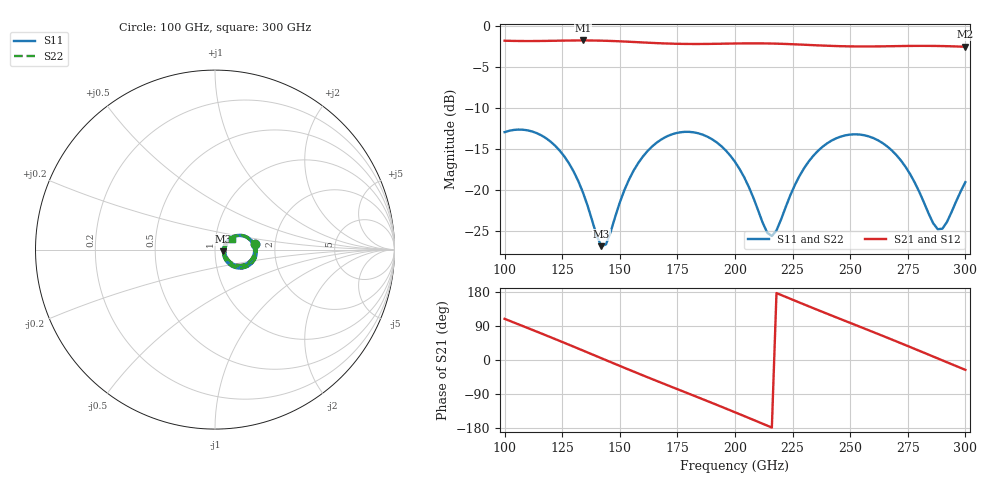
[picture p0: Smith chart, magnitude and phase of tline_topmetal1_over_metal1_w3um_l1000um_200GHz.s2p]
#  GHZ S DB R 50
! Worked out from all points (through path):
!   101 points, 100 GHz to 300 GHz, reference 50 ohm
!   highest |S21| = -1.75 dB at 134 GHz (marker M1); lowest = -2.5 dB at 300 GHz (marker M2)
!   group delay of S21, straight-line fit = 6.87 ps
!   lowest |S11| = -26.9 dB at 142 GHz (marker M3), VSWR 1.09, Z = 54.6 - j1.04 ohm
!   |S11| at or under -10 dB: start of sweep to end of sweep
!   |S22| runs from -26.8 to -12.6 dB; largest |S21 - S12| = 9.2e-14
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100  -12.95 7.4  -1.78 108.6  -1.78 108.6  -12.95 7.5
108  -12.65 -8.1  -1.82 89.3  -1.82 89.3  -12.65 -8.0
116  -13.35 -23.4  -1.81 69.9  -1.81 69.9  -13.36 -23.3
126  -15.95 -40.7  -1.76 45.1  -1.76 45.1  -15.96 -40.4
134  -20.32 -47.2  -1.75 25.0  -1.75 25.0  -20.33 -46.7
142  -26.89 -12.2  -1.77 4.7  -1.77 4.7  -26.80 -11.6
144  -26.67 8.4  -1.79 -0.4  -1.79 -0.4  -26.56 8.7
156  -17.65 36.0  -1.93 -30.6  -1.93 -30.6  -17.63 35.9
168  -13.85 17.8  -2.09 -60.0  -2.09 -60.0  -13.84 17.8
184  -13.08 -12.0  -2.18 -98.7  -2.18 -98.7  -13.09 -11.9
200  -16.58 -38.2  -2.12 -138.0  -2.12 -138.0  -16.59 -38.1
208  -20.99 -40.5  -2.10 -158.0  -2.10 -158.0  -21.01 -40.4
216  -25.64 -1.2  -2.12 -178.3  -2.12 -178.3  -25.70 -0.8
224  -20.68 34.0  -2.20 161.6  -2.20 161.6  -20.69 34.5
234  -15.84 28.1  -2.32 136.8  -2.32 136.8  -15.84 28.6
244  -13.70 12.1  -2.43 112.4  -2.43 112.4  -13.70 12.6
252  -13.21 -2.2  -2.48 93.1  -2.48 93.1  -13.22 -1.6
268  -15.17 -29.5  -2.45 54.2  -2.45 54.2  -15.17 -28.8
278  -19.10 -38.8  -2.41 29.3  -2.41 29.3  -19.09 -37.9
288  -24.81 -9.1  -2.42 4.1  -2.42 4.1  -24.76 -8.2
292  -23.93 16.4  -2.45 -5.9  -2.45 -5.9  -23.89 17.1
300  -19.06 32.1  -2.52 -26.0  -2.52 -26.0  -19.04 32.8
